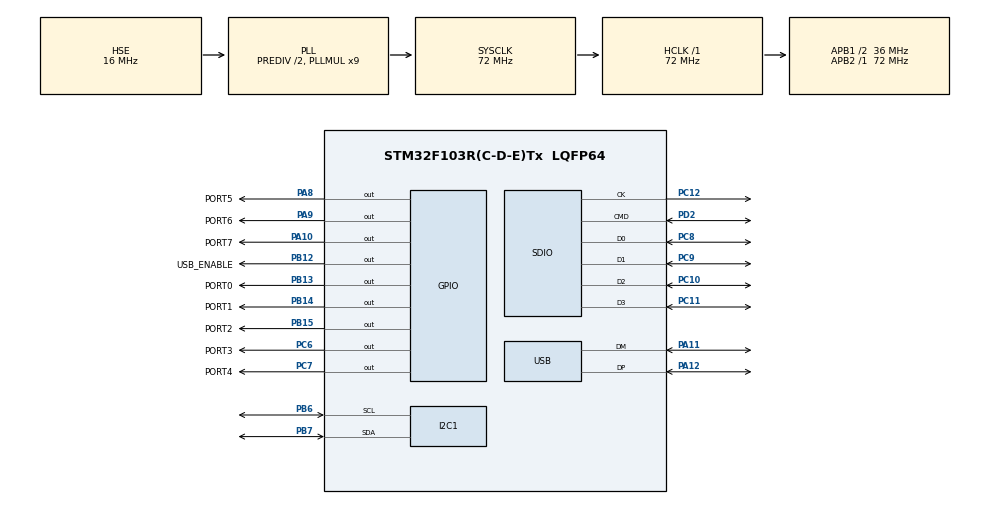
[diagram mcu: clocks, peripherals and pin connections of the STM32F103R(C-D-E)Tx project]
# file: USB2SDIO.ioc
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I2C1.I2C_Mode=I2C_Fast
I2C1.OwnAddress=0x25
Mcu.Family=STM32F1
Mcu.Name=STM32F103R(C-D-E)Tx
Mcu.Package=LQFP64
NVIC.PriorityGroup=NVIC_PRIORITYGROUP_4
NVIC.USB_LP_CAN1_RX0_IRQn=true\:0\:0\:false\:false\:true\:false\:true
PA10.GPIO_Label=PORT7
PA10.Signal=GPIO_Output
PA11.Mode=Device
PA11.Signal=USB_DM
PA12.Mode=Device
PA12.Signal=USB_DP
PA13.Mode=Serial_Wire
PA13.Signal=SYS_JTMS-SWDIO
PA14.Mode=Serial_Wire
PA14.Signal=SYS_JTCK-SWCLK
PA8.GPIO_Label=PORT5
PA8.Signal=GPIO_Output
PA9.GPIO_Label=PORT6
PA9.Signal=GPIO_Output
PB12.GPIO_Label=USB_ENABLE
PB12.Signal=GPIO_Output
PB13.GPIO_Label=PORT0
PB13.PinState=GPIO_PIN_RESET
PB13.Signal=GPIO_Output
PB14.GPIO_Label=PORT1
PB14.Signal=GPIO_Output
PB15.GPIO_Label=PORT2
PB15.Signal=GPIO_Output
PB6.Mode=I2C
PB6.Signal=I2C1_SCL
PB7.Mode=I2C
PB7.Signal=I2C1_SDA
PC10.Mode=SD_4_bits_Wide_bus
PC10.Signal=SDIO_D2
PC11.Mode=SD_4_bits_Wide_bus
PC11.Signal=SDIO_D3
PC12.Mode=SD_4_bits_Wide_bus
PC12.Signal=SDIO_CK
PC6.GPIO_Label=PORT3
PC6.Signal=GPIO_Output
PC7.GPIO_Label=PORT4
PC7.Signal=GPIO_Output
PC8.Mode=SD_4_bits_Wide_bus
PC8.Signal=SDIO_D0
PC9.Mode=SD_4_bits_Wide_bus
PC9.Signal=SDIO_D1
PD0-OSC_IN.Mode=HSE-External-Oscillator
PD0-OSC_IN.Signal=RCC_OSC_IN
PD1-OSC_OUT.Mode=HSE-External-Oscillator
PD1-OSC_OUT.Signal=RCC_OSC_OUT
PD2.Mode=SD_4_bits_Wide_bus
PD2.Signal=SDIO_CMD
ProjectManager.HeapSize=0x1000
ProjectManager.StackSize=0x2000
ProjectManager.TargetToolchain=STM32CubeIDE
RCC.AHBFreq_Value=72000000
RCC.APB1CLKDivider=RCC_HCLK_DIV2
RCC.APB1Freq_Value=36000000
RCC.APB1TimFreq_Value=72000000
RCC.APB2Freq_Value=72000000
RCC.APB2TimFreq_Value=72000000
RCC.HCLKFreq_Value=72000000
RCC.HSEDivPLL=RCC_HSE_PREDIV_DIV2
RCC.HSE_VALUE=16000000
RCC.PLLMUL=RCC_PLL_MUL9
RCC.SYSCLKFreq_VALUE=72000000
RCC.SYSCLKSource=RCC_SYSCLKSOURCE_PLLCLK
RCC.USBFreq_Value=48000000
RCC.USBPrescaler=RCC_USBCLKSOURCE_PLL_DIV1_5
SDIO.ClockDiv=7
SDIO.ClockEdge=SDIO_CLOCK_EDGE_RISING
SDIO.HardwareFlowControl=SDIO_HARDWARE_FLOW_CONTROL_ENABLE
USB_DEVICE.CLASS_NAME_FS=MSC
USB_DEVICE.VirtualMode=Msc
USB_DEVICE.VirtualModeFS=Msc_FS
VP_USB_DEVICE_VS_USB_DEVICE_MSC_FS.Mode=MSC_FS
board=custom

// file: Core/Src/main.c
/* USER CODE BEGIN Header */
/**
  ******************************************************************************
  * @file           : main.c
  * @brief          : Main program body
  ******************************************************************************
  * @attention
  *
  * <h2><center>&copy; Copyright (c) 2020 STMicroelectronics.
  * All rights reserved.</center></h2>
  *
  * This software component is licensed by ST under Ultimate Liberty license
  * SLA0044, the "License"; You may not use this file except in compliance with
  * the License. You may obtain a copy of the License at:
  *                             www.st.com/SLA0044
  *
  ******************************************************************************
  */
/* USER CODE END Header */
#include "main.h"
#include "usb_device.h"

I2C_HandleTypeDef hi2c1;

SD_HandleTypeDef hsd;

/* USER CODE BEGIN PV */
int selectedSDcard = 0x15;
/* USER CODE END PV */

void SystemClock_Config(void);
static void MX_GPIO_Init(void);
static void MX_SDIO_SD_Init(void);
static void MX_I2C1_Init(void);

int main(void)
{

  /* MCU Configuration--------------------------------------------------------*/

  /* Reset of all peripherals, Initializes the Flash interface and the Systick. */
  HAL_Init();

  /* Configure the system clock */
  SystemClock_Config();

  /* Initialize all configured peripherals */
  MX_GPIO_Init();
  MX_USB_DEVICE_Init();
  MX_SDIO_SD_Init();
  MX_I2C1_Init();
  /* USER CODE BEGIN 2 */

  uint8_t buff[2];
  buff[0] = 255;
  buff[1] = 255;
  /* USER CODE END 2 */

  /* Infinite loop */
  while (1)
  {

    /* USER CODE BEGIN 3 */
	HAL_StatusTypeDef status = HAL_I2C_Slave_Receive(&hi2c1, buff, 2, 10);
	if (status == HAL_OK)
	{
		if (buff[0] == 0x01 && selectedSDcard != buff[1]) {
			// command to connect/disconnect host to sd
			if (selectedSDcard >= 0 && selectedSDcard < 8) {
				HAL_SD_DeInit(&hsd);
			}

			selectedSDcard = buff[1];

			// disconnect all sd from master, connect to slaves
			HAL_GPIO_WritePin(GPIOB, USB_ENABLE_Pin|PORT0_Pin|PORT1_Pin|PORT2_Pin, GPIO_PIN_RESET);
			HAL_GPIO_WritePin(GPIOC, PORT3_Pin|PORT4_Pin, GPIO_PIN_RESET);
			HAL_GPIO_WritePin(GPIOA, PORT5_Pin|PORT6_Pin|PORT7_Pin, GPIO_PIN_RESET);

			// if valid sd number connect master to this sd
			switch (buff[1]) {
			case 0:
				HAL_GPIO_WritePin(PORT0_GPIO_Port, PORT0_Pin, GPIO_PIN_SET);
				break;
			case 1:
				HAL_GPIO_WritePin(PORT1_GPIO_Port, PORT1_Pin, GPIO_PIN_SET);
				break;
			case 2:
				HAL_GPIO_WritePin(PORT2_GPIO_Port, PORT2_Pin, GPIO_PIN_SET);
				break;
			case 3:
				HAL_GPIO_WritePin(PORT3_GPIO_Port, PORT3_Pin, GPIO_PIN_SET);
				break;
			case 4:
				HAL_GPIO_WritePin(PORT4_GPIO_Port, PORT4_Pin, GPIO_PIN_SET);
				break;
			case 5:
				HAL_GPIO_WritePin(PORT5_GPIO_Port, PORT5_Pin, GPIO_PIN_SET);
				break;
			case 6:
				HAL_GPIO_WritePin(PORT6_GPIO_Port, PORT6_Pin, GPIO_PIN_SET);
				break;
			case 7:
				HAL_GPIO_WritePin(PORT7_GPIO_Port, PORT7_Pin, GPIO_PIN_SET);
				break;
			default:
				break;
			}

			if (selectedSDcard >= 0 && selectedSDcard < 8) {
				MX_SDIO_SD_Init();
				HAL_GPIO_WritePin(USB_ENABLE_GPIO_Port, USB_ENABLE_Pin, GPIO_PIN_SET);
			}

		}
		if (buff[0]==0x02) {
			//command to get currently selected sd card (if any)
//			buff[0] = selectedSDcard;
//			HAL_StatusTypeDef status = HAL_I2C_Slave_Transmit(&hi2c1, buff, 1, 20000);
//			if (status == HAL_OK)
//			{
//				int i = 2;
//			}

		}
	}

  }
  /* USER CODE END 3 */
}

void SystemClock_Config(void)
{
  RCC_OscInitTypeDef RCC_OscInitStruct = {0};
  RCC_ClkInitTypeDef RCC_ClkInitStruct = {0};
  RCC_PeriphCLKInitTypeDef PeriphClkInit = {0};

  /** Initializes the RCC Oscillators according to the specified parameters
  * in the RCC_OscInitTypeDef structure.
  */
  RCC_OscInitStruct.OscillatorType = RCC_OSCILLATORTYPE_HSE;
  RCC_OscInitStruct.HSEState = RCC_HSE_ON;
  RCC_OscInitStruct.HSEPredivValue = RCC_HSE_PREDIV_DIV2;
  RCC_OscInitStruct.HSIState = RCC_HSI_ON;
  RCC_OscInitStruct.PLL.PLLState = RCC_PLL_ON;
  RCC_OscInitStruct.PLL.PLLSource = RCC_PLLSOURCE_HSE;
  RCC_OscInitStruct.PLL.PLLMUL = RCC_PLL_MUL9;
  if (HAL_RCC_OscConfig(&RCC_OscInitStruct) != HAL_OK)
  {
    Error_Handler();
  }
  /** Initializes the CPU, AHB and APB buses clocks
  */
  RCC_ClkInitStruct.ClockType = RCC_CLOCKTYPE_HCLK|RCC_CLOCKTYPE_SYSCLK
                              |RCC_CLOCKTYPE_PCLK1|RCC_CLOCKTYPE_PCLK2;
  RCC_ClkInitStruct.SYSCLKSource = RCC_SYSCLKSOURCE_PLLCLK;
  RCC_ClkInitStruct.AHBCLKDivider = RCC_SYSCLK_DIV1;
  RCC_ClkInitStruct.APB1CLKDivider = RCC_HCLK_DIV2;
  RCC_ClkInitStruct.APB2CLKDivider = RCC_HCLK_DIV1;

  if (HAL_RCC_ClockConfig(&RCC_ClkInitStruct, FLASH_LATENCY_2) != HAL_OK)
  {
    Error_Handler();
  }
  PeriphClkInit.PeriphClockSelection = RCC_PERIPHCLK_USB;
  PeriphClkInit.UsbClockSelection = RCC_USBCLKSOURCE_PLL_DIV1_5;
  if (HAL_RCCEx_PeriphCLKConfig(&PeriphClkInit) != HAL_OK)
  {
    Error_Handler();
  }
}

static void MX_I2C1_Init(void)
{

  hi2c1.Instance = I2C1;
  hi2c1.Init.ClockSpeed = 400000;
  hi2c1.Init.DutyCycle = I2C_DUTYCYCLE_2;
  hi2c1.Init.OwnAddress1 = 74;
  hi2c1.Init.AddressingMode = I2C_ADDRESSINGMODE_7BIT;
  hi2c1.Init.DualAddressMode = I2C_DUALADDRESS_DISABLE;
  hi2c1.Init.OwnAddress2 = 0;
  hi2c1.Init.GeneralCallMode = I2C_GENERALCALL_DISABLE;
  hi2c1.Init.NoStretchMode = I2C_NOSTRETCH_DISABLE;
  if (HAL_I2C_Init(&hi2c1) != HAL_OK)
  {
    Error_Handler();
  }

}

static void MX_SDIO_SD_Init(void)
{

  /* USER CODE BEGIN SDIO_Init 0 */
  if (selectedSDcard < 0 || selectedSDcard > 7) return;
  /* USER CODE END SDIO_Init 0 */

  hsd.Instance = SDIO;
  hsd.Init.ClockEdge = SDIO_CLOCK_EDGE_RISING;
  hsd.Init.ClockBypass = SDIO_CLOCK_BYPASS_DISABLE;
  hsd.Init.ClockPowerSave = SDIO_CLOCK_POWER_SAVE_DISABLE;
  hsd.Init.BusWide = SDIO_BUS_WIDE_1B;
  hsd.Init.HardwareFlowControl = SDIO_HARDWARE_FLOW_CONTROL_ENABLE;
  hsd.Init.ClockDiv = 7;
  if (HAL_SD_Init(&hsd) != HAL_OK)
  {
    Error_Handler();
  }
  if (HAL_SD_ConfigWideBusOperation(&hsd, SDIO_BUS_WIDE_4B) != HAL_OK)
  {
    Error_Handler();
  }

}

static void MX_GPIO_Init(void)
{
  GPIO_InitTypeDef GPIO_InitStruct = {0};

  /* GPIO Ports Clock Enable */
  __HAL_RCC_GPIOD_CLK_ENABLE();
  __HAL_RCC_GPIOB_CLK_ENABLE();
  __HAL_RCC_GPIOC_CLK_ENABLE();
  __HAL_RCC_GPIOA_CLK_ENABLE();

  /*Configure GPIO pin Output Level */
  HAL_GPIO_WritePin(GPIOB, USB_ENABLE_Pin|PORT0_Pin|PORT1_Pin|PORT2_Pin, GPIO_PIN_RESET);

  /*Configure GPIO pin Output Level */
  HAL_GPIO_WritePin(GPIOC, PORT3_Pin|PORT4_Pin, GPIO_PIN_RESET);

  /*Configure GPIO pin Output Level */
  HAL_GPIO_WritePin(GPIOA, PORT5_Pin|PORT6_Pin|PORT7_Pin, GPIO_PIN_RESET);

  /*Configure GPIO pins : USB_ENABLE_Pin PORT0_Pin PORT1_Pin PORT2_Pin */
  GPIO_InitStruct.Pin = USB_ENABLE_Pin|PORT0_Pin|PORT1_Pin|PORT2_Pin;
  GPIO_InitStruct.Mode = GPIO_MODE_OUTPUT_PP;
  GPIO_InitStruct.Pull = GPIO_NOPULL;
  GPIO_InitStruct.Speed = GPIO_SPEED_FREQ_LOW;
  HAL_GPIO_Init(GPIOB, &GPIO_InitStruct);

  /*Configure GPIO pins : PORT3_Pin PORT4_Pin */
  GPIO_InitStruct.Pin = PORT3_Pin|PORT4_Pin;
  GPIO_InitStruct.Mode = GPIO_MODE_OUTPUT_PP;
  GPIO_InitStruct.Pull = GPIO_NOPULL;
  GPIO_InitStruct.Speed = GPIO_SPEED_FREQ_LOW;
  HAL_GPIO_Init(GPIOC, &GPIO_InitStruct);

  /*Configure GPIO pins : PORT5_Pin PORT6_Pin PORT7_Pin */
  GPIO_InitStruct.Pin = PORT5_Pin|PORT6_Pin|PORT7_Pin;
  GPIO_InitStruct.Mode = GPIO_MODE_OUTPUT_PP;
  GPIO_InitStruct.Pull = GPIO_NOPULL;
  GPIO_InitStruct.Speed = GPIO_SPEED_FREQ_LOW;
  HAL_GPIO_Init(GPIOA, &GPIO_InitStruct);

}

void Error_Handler(void)
{
  __disable_irq();
  while (1)
  {
  }
}

/************************ (C) COPYRIGHT STMicroelectronics *****END OF FILE****/
